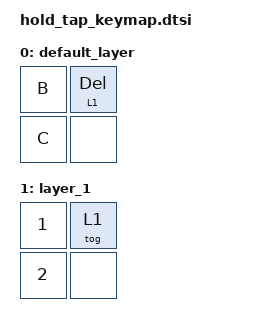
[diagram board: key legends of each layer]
#include <dt-bindings/zmk/keys.h>
#include <behaviors.dtsi>
#include <dt-bindings/zmk/kscan_mock.h>

/*
 * The GO60 shape: the layer key is a balanced hold-tap whose hold is &mo
 * (HTUI_mo_kp_bal_250_200_50 in go60.keymap), and inside the layer the same position
 * is &tog for the way out.
 */
/ {
    behaviors {
        ht_mo: ht_mo {
            compatible = "zmk,behavior-hold-tap";
            #binding-cells = <2>;
            flavor = "balanced";
            tapping-term-ms = <200>;
            bindings = <&mo>, <&kp>;
        };
    };

    layer_idle_lock {
        compatible = "zmk,layer-idle-lock";

        lock_1 {
            layer = <1>;
            idle-ms = <500>;
            enter = <&kp F13>;
            exit = <&kp F14>;
        };
    };

    keymap {
        compatible = "zmk,keymap";

        default_layer {
            bindings = <
                &kp B  &ht_mo 1 DEL
                &kp C  &none>;
        };

        layer_1 {
            bindings = <
                &kp N1  &tog 1
                &kp N2  &none>;
        };
    };
};
